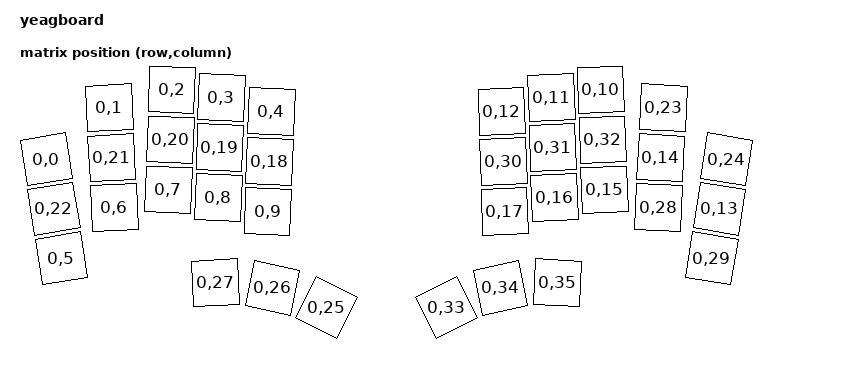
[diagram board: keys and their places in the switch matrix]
/*
*
* SPDX-License-Identifier: MIT
*
*/

#include <dt-bindings/zmk/matrix_transform.h>
#include <physical_layouts.dtsi>

/ {
    model = "yeagboard";
    compatible = "yeagboard";

    chosen {
        zmk,physical-layout = &default_layout;
        zmk,kscan = &kscan0;
		zmk,battery = &vbatt;
    };

    default_transform: keymap_transform_0 {
        compatible = "zmk,matrix-transform";
        // Direct GPIO moment
        columns = <36>;
        rows = <1>;

        // | SW1    | SW2    | SW3    | SW4    | SW5  |  | SW5    | SW4    | SW3    | SW2    | SW1  |
        // | SW6    | SW7    | SW8    | SW9    | SW10 |  | SW10   | SW9    | SW8    | SW7    | SW6  |
        // | SW11   | SW12   | SW13   | SW14   | SW15 |  | SW15   | SW14   | SW13   | SW12   | SW11 |
        //                   | SW16   | SW17   | SW18 |  | SW18   | SW17   | SW16   |
        map = <
            RC(0,0)  RC(0,1)  RC(0,2)  RC(0,3)  RC(0,4)   RC(0,22) RC(0,21) RC(0,20) RC(0,19) RC(0,18)
            RC(0,5)  RC(0,6)  RC(0,7)  RC(0,8)  RC(0,9)   RC(0,27) RC(0,26) RC(0,25) RC(0,24) RC(0,23)
            RC(0,10) RC(0,11) RC(0,12) RC(0,13) RC(0,14)  RC(0,32) RC(0,31) RC(0,30) RC(0,29) RC(0,28)
                              RC(0,15) RC(0,16) RC(0,17)  RC(0,35) RC(0,34) RC(0,33)
        >;
    };

    default_layout: default_layout {
        compatible = "zmk,physical-layout";
        display-name = "Yeagboard";

        transform = <&default_transform>;
        kscan = <&kscan0>;

        keys  //                     w   h    x    y     rot    rx    ry
            = <&key_physical_attrs 100 100    0  139  (-900)    50   189>
            , <&key_physical_attrs 100 100  126   36  (-300)   176    86>
            , <&key_physical_attrs 100 100  251    0     200   301    50>
            , <&key_physical_attrs 100 100  350   15     200   400    66>
            , <&key_physical_attrs 100 100  450   43     200   500    93>
            , <&key_physical_attrs 100 100   15  238  (-900)    65   288>
            , <&key_physical_attrs 100 100  131  136  (-300)   181   186>
            , <&key_physical_attrs 100 100  248  100     200   298   150>
            , <&key_physical_attrs 100 100  347  115     200   397   165>
            , <&key_physical_attrs 100 100  446  143     200   496   193>
            , <&key_physical_attrs 100 100   30  337  (-900)    80   387>
            , <&key_physical_attrs 100 100  136  235  (-300)   186   285>
            , <&key_physical_attrs 100 100  244  200     200   294   250>
            , <&key_physical_attrs 100 100  344  215     200   394   265>
            , <&key_physical_attrs 100 100  443  243     200   493   293>
            , <&key_physical_attrs 100 100  338  386  (-300)   388   436>
            , <&key_physical_attrs 100 100  452  396    1200   502   446>
            , <&key_physical_attrs 100 100  560  436    2700   610   486>
            , <&key_physical_attrs 100 100 1360  139     900  1410   189>
            , <&key_physical_attrs 100 100 1234   36     300  1284    86>
            , <&key_physical_attrs 100 100 1109    0  (-200)  1159    50>
            , <&key_physical_attrs 100 100 1010   15  (-200)  1060    66>
            , <&key_physical_attrs 100 100  911   43  (-200)   961    93>
            , <&key_physical_attrs 100 100 1346  238     900  1396   288>
            , <&key_physical_attrs 100 100 1229  136     300  1279   186>
            , <&key_physical_attrs 100 100 1113  100  (-200)  1163   150>
            , <&key_physical_attrs 100 100 1013  115  (-200)  1063   165>
            , <&key_physical_attrs 100 100  914  143  (-200)   964   193>
            , <&key_physical_attrs 100 100 1331  337     900  1381   387>
            , <&key_physical_attrs 100 100 1224  235     300  1274   285>
            , <&key_physical_attrs 100 100 1116  200  (-200)  1166   250>
            , <&key_physical_attrs 100 100 1016  215  (-200)  1066   265>
            , <&key_physical_attrs 100 100  917  243  (-200)   967   293>
            , <&key_physical_attrs 100 100 1022  386     300  1072   436>
            , <&key_physical_attrs 100 100  908  396 (-1200)   958   446>
            , <&key_physical_attrs 100 100  800  436 (-2700)   850   486>
            ;
    };

    vbatt: vbatt {
        compatible = "zmk,battery-nrf-vddh";
    };

    behaviors {
        hw_soft_off: hw_soft_off {
            compatible = "zmk,behavior-soft-off";
            #binding-cells = <0>;
            split-peripheral-off-on-press; // Turn peripheral off immediately for reliability
            hold-time-ms = <1000>; // Only turn off if the key is held for 2 seconds or longer.
        };
    };

    keys {
        compatible = "gpio-keys";
        soft_off_gpio_key: soft_off_gpio_key {
            gpios = <&gpio0 9 (GPIO_ACTIVE_LOW | GPIO_PULL_UP)>;
        };
    };

    wakeup_scan: wakeup_scan {
        compatible = "zmk,kscan-gpio-direct";
        input-keys = <&soft_off_gpio_key>;
        wakeup-source;
    };

    side_band_behavior_triggers: side_band_behavior_triggers {
        compatible = "zmk,kscan-sideband-behaviors";

        kscan = <&wakeup_scan>;
        auto-enable;
        wakeup-source;

        soft_off {
            column = <0>;
            row = <0>;
            bindings = <&hw_soft_off>;
        };
    };

    soft_off_wakers {
        compatible = "zmk,soft-off-wakeup-sources";
        wakeup-sources = <&wakeup_scan>,<&kscan0>;
    };
};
